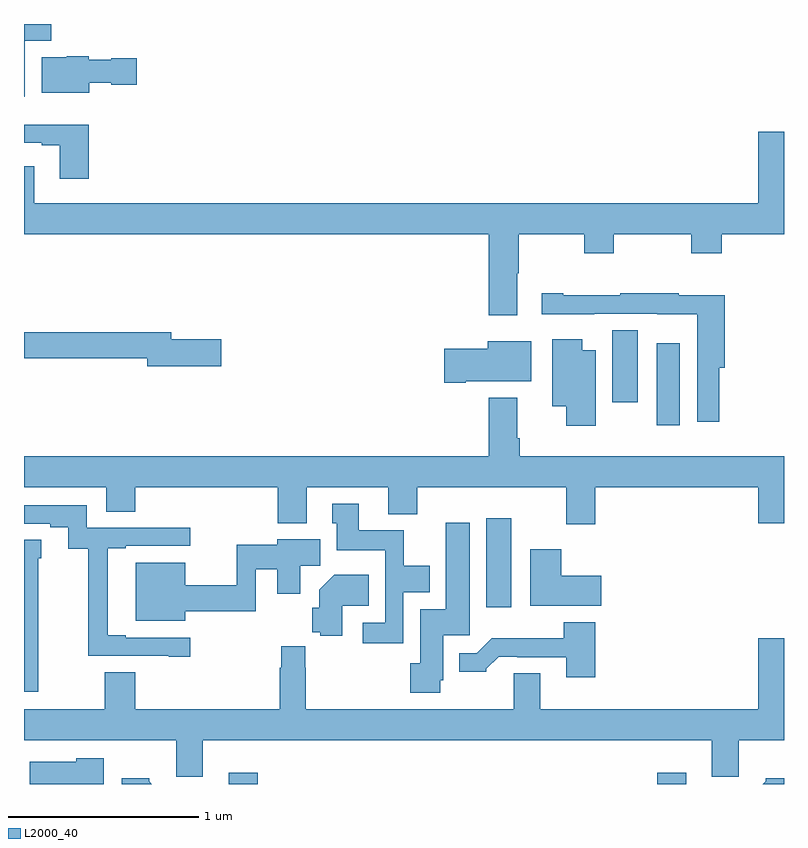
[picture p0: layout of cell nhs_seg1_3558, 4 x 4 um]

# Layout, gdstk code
import gdstk
lib = gdstk.Library(unit=1e-6, precision=1e-09)
def R(c, l, rs):  # rectangles x0, y0, x1, y1
    for r in rs: c.add(gdstk.rectangle(r[:2], r[2:], *l))
def P(c, l, *ps):  # polygons
    for p in ps: c.add(gdstk.Polygon(p, *l))
L2000_40 = (2000, 40)

nhs_seg1_3558 = lib.new_cell('nhs_seg1_3558')
R(nhs_seg1_3558, L2000_40, [(306.077,522.199,306.23,522.259), (308.333,522.199,308.485,522.259), (307.433,523.128,307.564,523.597), (308.33,524.088,308.452,524.518), (308.096,524.208,308.23,524.588)])
P(nhs_seg1_3558, L2000_40, [(305.005,526.112),(305.144,526.112),(305.144,526.199),(305,526.199),(305,525.816),(305.005,525.816)],
  [(305.344,525.89),(305.46,525.89),(305.46,525.878),(305.593,525.878),(305.593,526.02),(305.46,526.02),(305.46,526.012),(305.34,526.012),(305.34,526.03),(305.226,526.03),(305.226,526.024),(305.093,526.024),(305.093,525.836),(305.344,525.836)],
  [(305.342,525.67),(305,525.67),(305,525.573),(305.093,525.573),(305.093,525.561),(305.189,525.561),(305.189,525.384),(305.342,525.384)],
  [(307.597,524.888),(307.605,524.888),(307.605,525.092),(307.948,525.092),(307.948,524.993),(308.103,524.993),(308.103,525.092),(308.512,525.092),(308.512,524.993),(308.672,524.993),(308.672,525.092),(309,525.092),(309,525.631),(308.864,525.631),(308.864,525.256),(305.053,525.256),(305.053,525.451),(305,525.451),(305,525.092),(307.445,525.092),(307.445,524.667),(307.597,524.667)],
  [(308.66,524.39),(308.687,524.39),(308.687,524.772),(308.447,524.772),(308.447,524.782),(308.137,524.782),(308.137,524.772),(307.837,524.772),(307.837,524.782),(307.725,524.782),(307.725,524.672),(308,524.672),(308,524.673),(308.334,524.673),(308.334,524.672),(308.544,524.672),(308.544,524.106),(308.66,524.106)],
  [(306.037,524.54),(305.776,524.54),(305.776,524.576),(305,524.576),(305,524.44),(305.648,524.44),(305.648,524.398),(306.037,524.398)],
  [(308.008,524.482),(307.939,524.482),(307.939,524.539),(307.781,524.539),(307.781,524.186),(307.853,524.186),(307.853,524.085),(308.008,524.085)],
  [(307.324,524.318),(307.669,524.318),(307.669,524.53),(307.442,524.53),(307.442,524.489),(307.212,524.489),(307.212,524.311),(307.324,524.311)],
  [(308.006,523.76),(308.864,523.76),(308.864,523.572),(309,523.572),(309,523.924),(307.61,523.924),(307.61,524.02),(307.597,524.02),(307.597,524.233),(307.445,524.233),(307.445,523.924),(305,523.924),(305,523.76),(305.432,523.76),(305.432,523.633),(305.585,523.633),(305.585,523.76),(306.335,523.76),(306.335,523.571),(306.487,523.571),(306.487,523.76),(306.917,523.76),(306.917,523.619),(307.07,523.619),(307.07,523.76),(307.853,523.76),(307.853,523.566),(308.006,523.566)],
  [(306.996,523.208),(307.135,523.208),(307.135,523.348),(306.999,523.348),(306.999,523.534),(306.763,523.534),(306.763,523.675),(306.623,523.675),(306.623,523.572),(306.647,523.572),(306.647,523.43),(306.9,523.43),(306.9,523.047),(306.783,523.047),(306.783,522.939),(306.996,522.939)],
  [(305.875,522.969),(305.536,522.969),(305.536,522.982),(305.44,522.982),(305.44,523.44),(305.536,523.44),(305.536,523.452),(305.875,523.452),(305.875,523.548),(305.331,523.548),(305.331,523.665),(305,523.665),(305,523.569),(305.138,523.569),(305.138,523.551),(305.234,523.551),(305.234,523.436),(305.338,523.436),(305.338,522.873),(305.762,522.873),(305.762,522.868),(305.875,522.868)],
  [(307.191,522.744),(307.207,522.744),(307.207,522.981),(307.345,522.981),(307.345,523.573),(307.22,523.573),(307.22,523.12),(307.085,523.12),(307.085,522.834),(307.034,522.834),(307.034,522.678),(307.191,522.678)],
  [(305.848,523.108),(306.219,523.108),(306.219,523.33),(306.332,523.33),(306.332,523.2),(306.454,523.2),(306.454,523.348),(306.559,523.348),(306.559,523.486),(306.332,523.486),(306.332,523.459),(306.121,523.459),(306.121,523.244),(305.848,523.244),(305.848,523.363),(305.588,523.363),(305.588,523.058),(305.848,523.058)],
  [(305.074,523.386),(305.092,523.386),(305.092,523.484),(305,523.484),(305,522.684),(305.074,522.684)],
  [(308.038,523.294),(307.828,523.294),(307.828,523.435),(307.664,523.435),(307.664,523.136),(308.038,523.136)],
  [(306.676,523.136),(306.815,523.136),(306.815,523.3),(306.632,523.3),(306.554,523.222),(306.554,523.126),(306.516,523.126),(306.516,522.998),(306.558,522.998),(306.558,522.979),(306.676,522.979)],
  [(308.006,523.051),(307.841,523.051),(307.841,522.967),(307.462,522.967),(307.383,522.888),(307.292,522.888),(307.292,522.791),(307.434,522.791),(307.434,522.806),(307.498,522.87),(307.597,522.87),(307.597,522.867),(307.853,522.867),(307.853,522.762),(308.006,522.762)],
  [(305.585,522.788),(305.425,522.788),(305.425,522.592),(305,522.592),(305,522.428),(305.801,522.428),(305.801,522.238),(305.941,522.238),(305.941,522.428),(308.621,522.428),(308.621,522.238),(308.761,522.238),(308.761,522.428),(309,522.428),(309,522.967),(308.864,522.967),(308.864,522.592),(307.717,522.592),(307.717,522.782),(307.577,522.782),(307.577,522.592),(306.482,522.592),(306.482,522.812),(306.481,522.812),(306.481,522.925),(306.354,522.925),(306.354,522.812),(306.346,522.812),(306.346,522.592),(305.585,522.592)],
  [(305.419,522.334),(305.274,522.334),(305.274,522.316),(305.031,522.316),(305.031,522.199),(305.419,522.199)],
  [(305.658,522.214),(305.658,522.229),(305.514,522.229),(305.514,522.199),(305.673,522.199)],
  [(309,522.229),(308.904,522.229),(308.904,522.214),(308.889,522.199),(309,522.199)])

lib.write_gds('nhs_seg1_3558.gds')
